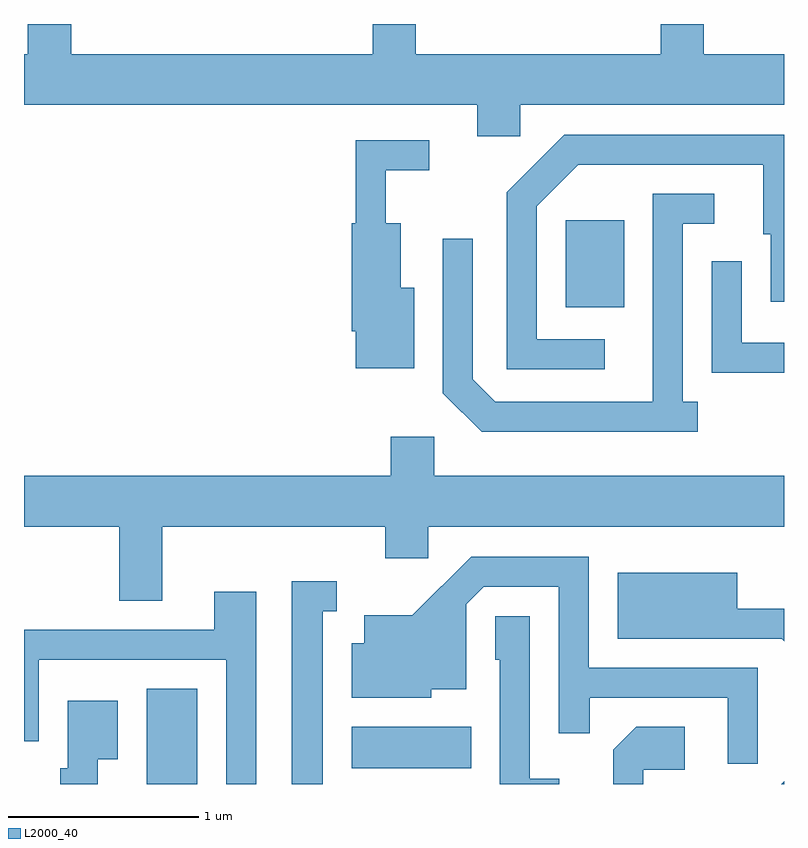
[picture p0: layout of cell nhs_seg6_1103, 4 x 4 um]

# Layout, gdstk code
import gdstk
lib = gdstk.Library(unit=1e-6, precision=1e-09)
def R(c, l, rs):  # rectangles x0, y0, x1, y1
    for r in rs: c.add(gdstk.rectangle(r[:2], r[2:], *l))
def P(c, l, *ps):  # polygons
    for p in ps: c.add(gdstk.Polygon(p, *l))
L2000_40 = (2000, 40)

nhs_seg6_1103 = lib.new_cell('nhs_seg6_1103')
R(nhs_seg6_1103, L2000_40, [(218.256,1624.162,218.524,1624.664), (219.336,1624.246,219.964,1624.464), (220.461,1626.671,220.769,1627.129)])
P(nhs_seg6_1103, L2000_40, [(220.224,1627.736),(221.611,1627.736),(221.611,1628.004),(221.189,1628.004),(221.189,1628.162),(220.961,1628.162),(220.961,1628.004),(219.674,1628.004),(219.674,1628.162),(219.446,1628.162),(219.446,1628.004),(217.859,1628.004),(217.859,1628.162),(217.631,1628.162),(217.631,1628.004),(217.611,1628.004),(217.611,1627.736),(219.996,1627.736),(219.996,1627.571),(220.224,1627.571)],
  [(219.218,1628.162),(218.011,1628.162),(218.011,1628.161),(219.217,1628.161)],
  [(220.668,1626.504),(220.309,1626.504),(220.309,1627.204),(220.527,1627.421),(221.501,1627.421),(221.501,1627.056),(221.541,1627.056),(221.541,1626.701),(221.611,1626.701),(221.611,1627.579),(220.454,1627.579),(220.151,1627.277),(220.151,1626.346),(220.668,1626.346)],
  [(219.664,1626.774),(219.594,1626.774),(219.594,1627.114),(219.514,1627.114),(219.514,1627.391),(219.743,1627.391),(219.743,1627.549),(219.356,1627.549),(219.356,1627.114),(219.336,1627.114),(219.336,1626.546),(219.356,1626.546),(219.356,1626.351),(219.664,1626.351)],
  [(221.158,1626.174),(221.079,1626.174),(221.079,1627.111),(221.243,1627.111),(221.243,1627.269),(220.921,1627.269),(220.921,1626.174),(220.092,1626.174),(219.974,1626.292),(219.974,1627.033),(219.816,1627.033),(219.816,1626.219),(220.019,1626.016),(221.158,1626.016)],
  [(221.611,1626.484),(221.389,1626.484),(221.389,1626.913),(221.231,1626.913),(221.231,1626.326),(221.611,1626.326)],
  [(218.339,1625.516),(219.511,1625.516),(219.511,1625.351),(219.739,1625.351),(219.739,1625.516),(221.611,1625.516),(221.611,1625.784),(219.769,1625.784),(219.769,1625.989),(219.541,1625.989),(219.541,1625.784),(217.611,1625.784),(217.611,1625.516),(218.111,1625.516),(218.111,1625.126),(218.339,1625.126)],
  [(221.474,1624.774),(220.584,1624.774),(220.584,1625.359),(219.964,1625.359),(219.654,1625.049),(219.401,1625.049),(219.401,1624.904),(219.336,1624.904),(219.336,1624.616),(219.754,1624.616),(219.754,1624.661),(219.939,1624.661),(219.939,1625.109),(220.032,1625.201),(220.426,1625.201),(220.426,1624.428),(220.589,1624.428),(220.589,1624.616),(221.316,1624.616),(221.316,1624.268),(221.474,1624.268)],
  [(221.611,1625.084),(221.364,1625.084),(221.364,1625.274),(220.736,1625.274),(220.736,1624.926),(221.599,1624.926),(221.611,1624.914)],
  [(219.184,1625.071),(219.258,1625.071),(219.258,1625.229),(219.021,1625.229),(219.021,1624.162),(219.184,1624.162)],
  [(218.834,1625.174),(218.611,1625.174),(218.611,1624.974),(217.611,1624.974),(217.611,1624.388),(217.689,1624.388),(217.689,1624.816),(218.676,1624.816),(218.676,1624.162),(218.834,1624.162)],
  [(220.428,1624.189),(220.274,1624.189),(220.274,1625.044),(220.091,1625.044),(220.091,1624.816),(220.116,1624.816),(220.116,1624.162),(220.428,1624.162)],
  [(217.999,1624.291),(218.104,1624.291),(218.104,1624.599),(217.841,1624.599),(217.841,1624.244),(217.801,1624.244),(217.801,1624.162),(217.999,1624.162)],
  [(220.869,1624.236),(221.089,1624.236),(221.089,1624.464),(220.834,1624.464),(220.711,1624.342),(220.711,1624.162),(220.869,1624.162)],
  [(221.611,1624.177),(221.596,1624.162),(221.611,1624.162)])

lib.write_gds('nhs_seg6_1103.gds')
